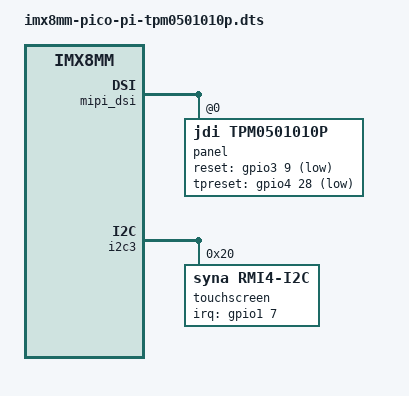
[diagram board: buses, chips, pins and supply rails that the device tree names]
/*
 * Copyright 2019 PCS
 *
 * Author: Linh Nguyen <nvl1109@gmail.com>
 *
 * This program is free software; you can redistribute it and/or
 * modify it under the terms of the GNU General Public License
 * as published by the Free Software Foundation; either version 2
 * of the License, or (at your option) any later version.
 *
 * This program is distributed in the hope that it will be useful,
 * but WITHOUT ANY WARRANTY; without even the implied warranty of
 * MERCHANTABILITY or FITNESS FOR A PARTICULAR PURPOSE.  See the
 * GNU General Public License for more details.
 */

#include "imx8mm-pico-pi.dts"

/ {
	backlight_mipi {
		status = "okay";
	};
};

&mipi_dsi {
	status = "okay";

	panel@0 {
		compatible = "jdi,tpm0501010p";
		reg = <0>;
		pinctrl-0 = <&pinctrl_mipi_dsi_rst &pinctrl_touch_rst>;
		reset-gpio = <&gpio3 9 GPIO_ACTIVE_LOW>;
		tpreset-gpio = <&gpio4 28 GPIO_ACTIVE_LOW>;
		dsi-lanes = <4>;
		panel-width-mm = <62>;
		panel-height-mm = <110>;
		timing-mode = <0>;
		video-mode = <2>;

		display-timings {
			timing {
				clock-frequency = <148500000>;
				hactive = <1080>;
				vactive = <1920>;
				hfront-porch = <70>;
				hsync-len = <24>;
				hback-porch = <100>;
				vfront-porch = <4>;
				vsync-len = <4>;
				vback-porch = <2>;

				hsync-active = <0>;
				vsync-active = <0>;
				de-active = <0>;
				pixelclk-active = <0>;
			};
		};
	};
};

/*&iomuxc {
	imx8mm-pico {
		pinctrl_mipi_dsi_en: mipi_dsi_en {
			fsl,pins = <
				MX8MM_IOMUXC_GPIO1_IO08_GPIO1_IO8	0x16
			>;
		};
	};
};*/

&i2c3 {
	touchscreen@20 {
		compatible = "syna,rmi4-i2c";
		pinctrl-names = "default";
		pinctrl-0 = <&pinctrl_touch_rst>;
		reg = <0x20>;
		interrupt-parent = <&gpio1>;
		interrupts = <7 IRQ_TYPE_EDGE_FALLING>;
		/*syna,reset-delay-ms = <10>;
		syna,startup-delay-ms = <10>;*/

		#address-cells = <1>;
		#size-cells = <0>;

		rmi4-f01@1 {
			reg = <0x1>;
			syna,nosleep-mode = <1>;
		};

		rmi4-f11@11 {
			reg = <0x11>;
			touchscreen-inverted-y;
			touchscreen-swapped-x-y;
			syna,sensor-type = <1>;

		};

		rmi4-f12@12 {
			reg = <0x12>;
			touchscreen-inverted-y;
			touchscreen-swapped-x-y;
			syna,sensor-type = <1>;
		};
	};
};
